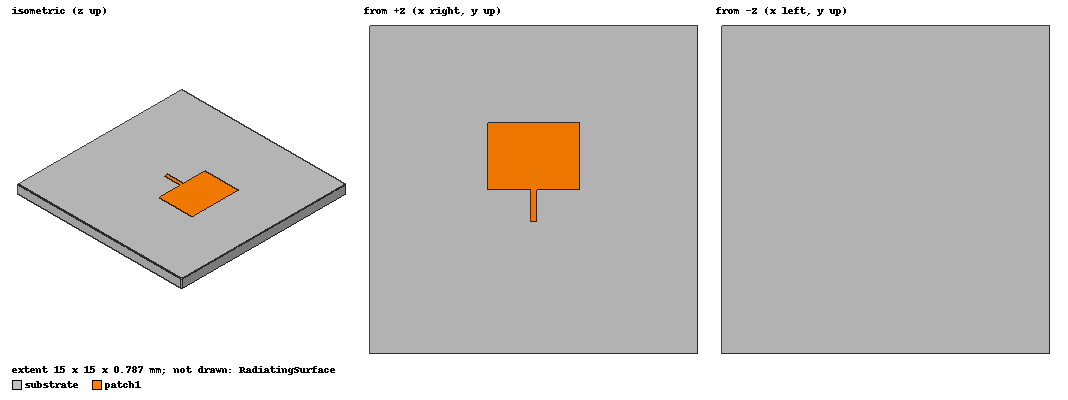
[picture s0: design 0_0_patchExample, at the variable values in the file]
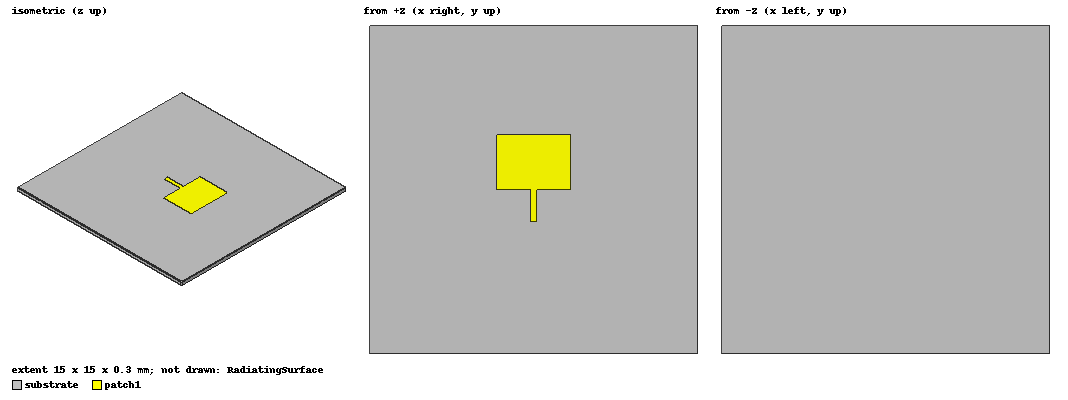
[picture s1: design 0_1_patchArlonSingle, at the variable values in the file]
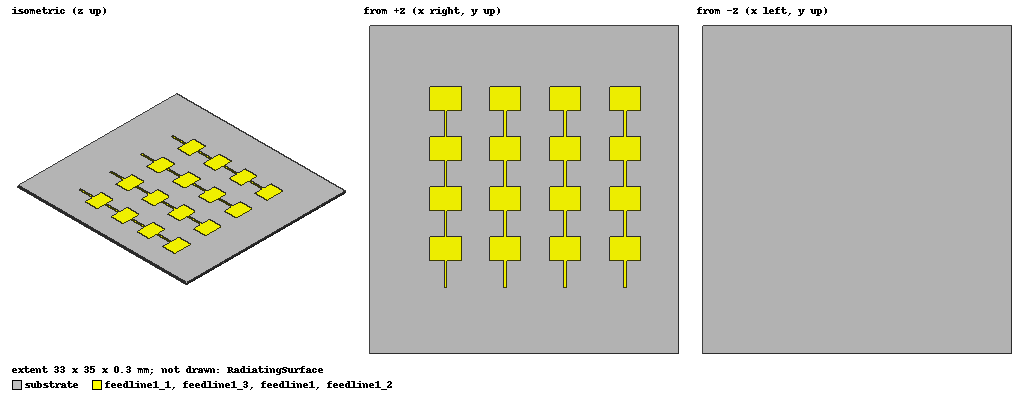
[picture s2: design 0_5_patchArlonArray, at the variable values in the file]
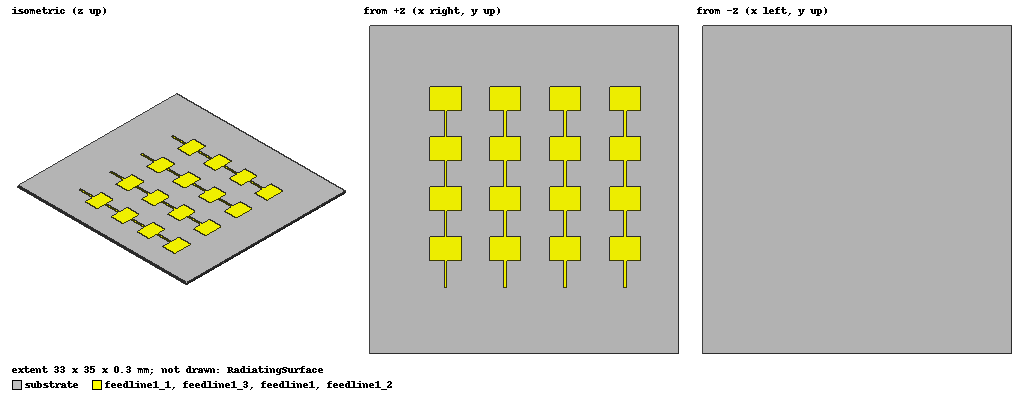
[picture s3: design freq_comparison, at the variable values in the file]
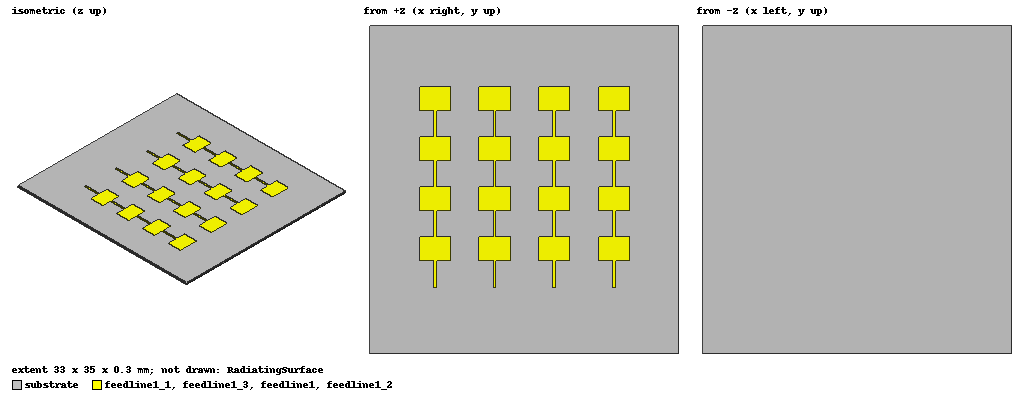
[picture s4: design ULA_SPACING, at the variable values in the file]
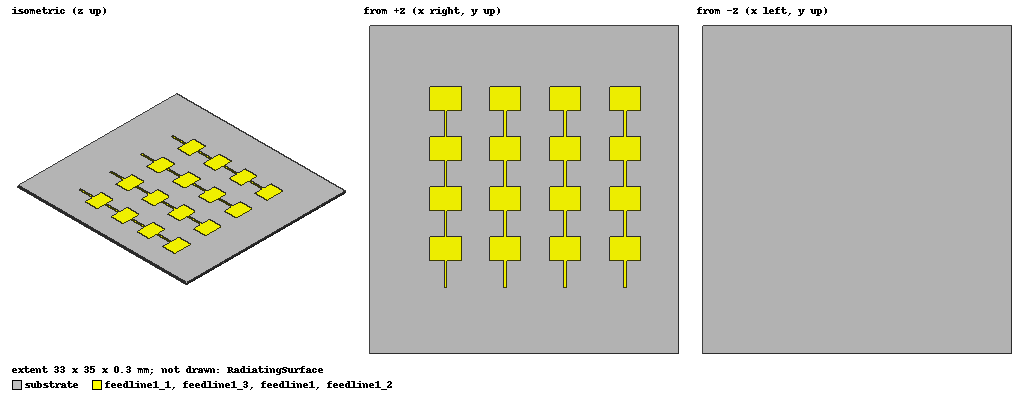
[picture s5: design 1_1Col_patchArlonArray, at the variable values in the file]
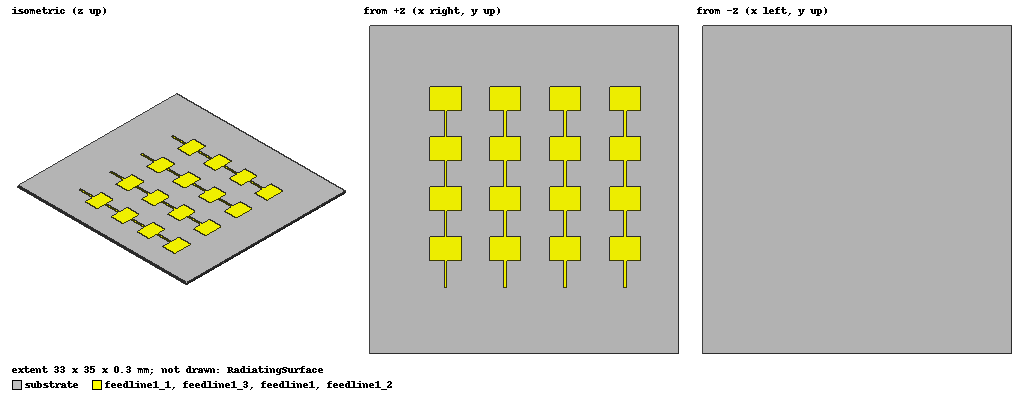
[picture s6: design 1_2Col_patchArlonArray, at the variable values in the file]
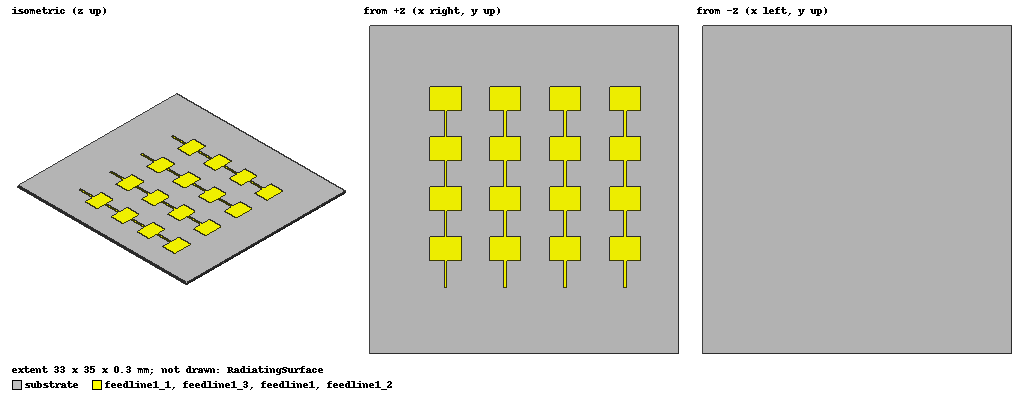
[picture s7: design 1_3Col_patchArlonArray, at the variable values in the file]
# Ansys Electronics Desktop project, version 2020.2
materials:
  vacuum: permittivity=1
  Arlon AD410 (tm): permittivity=4.1 dielectric_loss_tangent=0.003
  air: permittivity=1.0006 permeability=1.0000004
  PMLGroup1_Z_1: permittivity{anisotropic component1=1.1338425 component2=1.1338425 component3=0.44097836} permeability{anisotropic component1=1.1338425 component2=1.1338425 component3=0.44097836} dielectric_loss_tangent{anisotropic component1=1 component2=1 component3=-1} magnetic_loss_tangent{anisotropic component1=1 component2=1 component3=-1}
  PMLGroup1_XZ_1: permittivity{anisotropic component1=1 component2=0.01 component3=1} permeability{anisotropic component1=1 component2=0.01 component3=1} dielectric_loss_tangent{anisotropic component1=0 component2=257.11976 component3=0} magnetic_loss_tangent{anisotropic component1=0 component2=257.11976 component3=0}
  PMLGroup1_YZ_1: permittivity{anisotropic component1=0.01 component2=1 component3=1} permeability{anisotropic component1=0.01 component2=1 component3=1} dielectric_loss_tangent{anisotropic component1=257.11976 component2=0 component3=0} magnetic_loss_tangent{anisotropic component1=257.11976 component2=0 component3=0}
  PMLGroup1_XYZ_1: permittivity{anisotropic component1=1.1338425 component2=1.1338425 component3=1.1338425} permeability{anisotropic component1=1.1338425 component2=1.1338425 component3=1.1338425} dielectric_loss_tangent{anisotropic component1=1 component2=1 component3=1} magnetic_loss_tangent{anisotropic component1=1 component2=1 component3=1}
  Rogers RT/duroid 5880 (tm): permittivity=2.2 dielectric_loss_tangent=0.0009

design 0_0_patchExample (HFSS, DrivenModal, model units mm)
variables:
  subX = 15mm
  subY = 15mm
  subZ = 0.787mm
  patchW = 4.232mm
  patchL = 3.06mm
  arraySpaceL = 2.65mm
  qwtWidth = 0.3mm
  fiftyOhmW = 0.85mm
  feedLength = 1.4685mm
  feedWidth = 0.3mm
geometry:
  substrate [Rogers RT/duroid 5880 (tm)] = box(corner=(-subX/2, -subY/2, -subZ), size=(subX, subY, subZ))
  patch1 = rectangle(corner=(-patchW/2, 0mm, 0mm), x_size=patchW, y_size=patchL)
  QWTtrace = rectangle(corner=(-feedWidth/2, -feedLength, 0mm), x_size=feedWidth, y_size=feedLength)
  Rectangle1 = rectangle(corner=(-feedWidth/2, -feedLength, -subZ), z_size=subZ, x_size=feedWidth)
  RadiatingSurface [vacuum] = region(absolute_offset=3.5714286mm on all sides)
  coordinate_system RelativeCS1 = origin=(-0.15mm, 9.675mm, 0mm) x=(1mm, 0mm, 0mm) y=(0mm, 1mm, 0mm)
  patch1.unite(QWTtrace)
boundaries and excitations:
  Open1: Radiation Objects=RadiatingSurface
  copper: Finite Conductivity Objects=patch1 Conductivity=59600000 Permeability=1 IsInternal
  ground: Perfect E Faces=substrate.face(-z)
  port1: Lumped Port Objects=Rectangle1 Modes{Mode1{IntLine{middle of Rectangle1.edge(z opposite corner) -> middle of Rectangle1.edge(z at corner)} CharImp=Zpi RenormImp=50ohm}} Impedance=50ohm
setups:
  Setup1: HfssDriven Frequency=28GHz MaxDeltaS=0.02 MaximumPasses=6 MinimumPasses=1 MinimumConvergedPasses=1 PercentRefinement=30 BasisOrder=0 PortAccuracy=2
    sweep Sweep: 26GHz to 30GHz, 401 points; Type=Interpolating InterpTolerance=0.2 InterpMaxSolns=250 InterpUsePortImped=false PassivityErrorTolerance=0.0001
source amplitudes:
  port1:1: 1W 0deg
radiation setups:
  3D: Infinite Sphere Theta=0deg..180deg step 2deg Phi=-180deg..180deg step 2deg
  Elevation: Infinite Sphere Theta=-180deg..180deg step 1deg Phi=0deg..90deg step 90deg
  Azimuth: Infinite Sphere Theta=90deg..90deg step 0deg Phi=-180deg..180deg step 1deg
  ff_2d: Infinite Sphere Theta=-180deg..180deg step 2deg Phi=0deg..90deg step 90deg
  Infinite Sphere1: Infinite Sphere Theta=0deg..180deg step 2deg Phi=0deg..360deg step 2deg
  coord: Infinite Sphere Theta=0deg..180deg step 2deg Phi=0deg..360deg step 2deg CoordSystem=RelativeCS1
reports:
  Gain Plot 1: dB(GainTotal) vs Phi, Theta on Setup1 : LastAdaptive, 3D [Freq=28GHz]
  Gain Plot 2: dB(GainTotal) vs Phi, Theta on Setup1 : LastAdaptive, coord [Freq=28GHz]
  Gain Plot 3: dB(GainTotal) vs Theta on Setup1 : LastAdaptive, ff_2d [Phi=all Freq=28GHz]
  Directivity Plot 1: dB(DirTotal) vs Theta on Setup1 : LastAdaptive, ff_2d [Phi=all Freq=28GHz]; markers m1 at 0deg

design 0_1_patchArlonSingle (HFSS, DrivenModal, model units mm)
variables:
  subX = 15mm
  subY = 15mm
  subZ = 0.3mm
  patchW = 3.349mm
  patchL = 2.533mm
  arraySpaceL = 2.65mm
  qwtWidth = 0.3mm
  fiftyOhmW = 0.85mm
  feedLength = 1.4685mm
  feedWidth = 0.3mm
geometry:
  substrate [Arlon AD410 (tm)] = box(corner=(-subX/2, -subY/2, -subZ), size=(subX, subY, subZ))
  patch1 = rectangle(corner=(-patchW/2, 0mm, 0mm), x_size=patchW, y_size=patchL)
  QWTtrace = rectangle(corner=(-feedWidth/2, -feedLength, 0mm), x_size=feedWidth, y_size=feedLength)
  Rectangle1 = rectangle(corner=(-feedWidth/2, -feedLength, -subZ), z_size=subZ, x_size=feedWidth)
  RadiatingSurface [vacuum] = region(absolute_offset=3.5714286mm on all sides)
  coordinate_system RelativeCS1 = origin=(-0.15mm, 9.675mm, 0mm) x=(1mm, 0mm, 0mm) y=(0mm, 1mm, 0mm)
  patch1.unite(QWTtrace)
  coordinate_system RelativeCS2 = origin=(0.15mm, -8.5072756mm, 0mm) x=(1mm, 0mm, 0mm) y=(0mm, 1mm, 0mm) in RelativeCS1
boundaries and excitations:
  Open1: Radiation Objects=RadiatingSurface
  gold: Finite Conductivity Objects=patch1 Conductivity=41100000 Permeability=1 IsInternal
  ground: Perfect E Faces=substrate.face(-z)
  port1: Lumped Port Objects=Rectangle1 Modes{Mode1{IntLine{middle of Rectangle1.edge(z opposite corner) -> middle of Rectangle1.edge(z at corner)} CharImp=Zpi RenormImp=50ohm}} Impedance=50ohm
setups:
  Setup1: HfssDriven Frequency=28GHz MaxDeltaS=0.02 MaximumPasses=6 MinimumPasses=1 MinimumConvergedPasses=1 PercentRefinement=30 BasisOrder=0 PortAccuracy=2
    sweep Sweep: 26GHz to 30GHz, 401 points; Type=Interpolating InterpTolerance=0.2 InterpMaxSolns=250 InterpUsePortImped=false PassivityErrorTolerance=0.0001
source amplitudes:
  port1:1: 1W 0deg
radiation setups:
  3D: Infinite Sphere Theta=0deg..180deg step 2deg Phi=-180deg..180deg step 2deg
  Elevation: Infinite Sphere Theta=-180deg..180deg step 1deg Phi=0deg..90deg step 90deg
  Azimuth: Infinite Sphere Theta=90deg..90deg step 0deg Phi=-180deg..180deg step 1deg
  ff_2d: Infinite Sphere Theta=-180deg..180deg step 2deg Phi=0deg..90deg step 90deg CoordSystem=RelativeCS2
  Infinite Sphere1: Infinite Sphere Theta=0deg..180deg step 2deg Phi=0deg..360deg step 2deg CoordSystem=RelativeCS2
  coord: Infinite Sphere Theta=0deg..180deg step 2deg Phi=0deg..360deg step 2deg CoordSystem=RelativeCS1
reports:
  Gain Plot 1: dB(GainTotal) vs Phi, Theta on Setup1 : LastAdaptive, 3D [Freq=28GHz]
  Gain Plot 2: dB(GainTotal) vs Phi, Theta on Setup1 : LastAdaptive, coord [Freq=28GHz]
  Gain Plot 3: dB(GainTotal) vs Theta on Setup1 : LastAdaptive, ff_2d [Phi=all Freq=28GHz]; markers m1 at 0deg
  Directivity Plot 1: dB(DirTotal) vs Theta on Setup1 : LastAdaptive, ff_2d [Phi=all Freq=28GHz]; markers m1 at 0deg

design 0_5_patchArlonArray (HFSS, DrivenModal, model units mm)
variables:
  subX = (15*2.2) mm
  subY = 35mm
  subZ = 0.3mm
  patchW = 3.349mm
  patchL = 2.533mm
  arraySpaceL = 2.65mm
  qwtWidth = 0.3mm
  fiftyOhmW = 0.85mm
  feedLength = 2.8205mm
  feedWidth = 0.3mm
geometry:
  substrate [Arlon AD410 (tm)] = box(corner=(-subX/2+2.5*patchW, -subY/2+3*patchL, -subZ), size=(subX, subY, subZ))
  patch1 = rectangle(corner=(-patchW/2, 0mm, 0mm), x_size=patchW, y_size=patchL)
  feedline1 = rectangle(corner=(-feedWidth/2, -feedLength, 0mm), x_size=feedWidth, y_size=feedLength)
  Rectangle1 = rectangle(corner=(-feedWidth/2, -feedLength, -subZ), z_size=subZ, x_size=feedWidth)
  RadiatingSurface [vacuum] = region(absolute_offset=3.5714286mm on all sides)
  coordinate_system RelativeCS1 = origin=(-0.15mm, 9.675mm, 0mm) x=(1mm, 0mm, 0mm) y=(0mm, 1mm, 0mm)
  coordinate_system RelativeCS2 = origin=(0.15mm, -8.5072756mm, 0mm) x=(1mm, 0mm, 0mm) y=(0mm, 1mm, 0mm) in RelativeCS1
  feedline2 = rectangle(corner=(-feedWidth/2, -feedLength+1*(feedLength+patchL), 0mm), x_size=feedWidth, y_size=feedLength)
  patch2 = rectangle(corner=(-patchW/2, 1*(patchL+feedLength), 0mm), x_size=patchW, y_size=patchL)
  feedline3 = rectangle(corner=(-feedWidth/2, -feedLength+2*(feedLength+patchL), 0mm), x_size=feedWidth, y_size=feedLength)
  patch3 = rectangle(corner=(-patchW/2, 2*(patchL+feedLength), 0mm), x_size=patchW, y_size=patchL)
  feedline4 = rectangle(corner=(-feedWidth/2, -feedLength+3*(feedLength+patchL), 0mm), x_size=feedWidth, y_size=feedLength)
  patch4 = rectangle(corner=(-patchW/2, 3*(patchL+feedLength), 0mm), x_size=patchW, y_size=patchL)
  feedline1.unite(patch1, feedline2, patch2, feedline3, patch3, feedline4, patch4)
  feedline1_1, feedline1_2, feedline1_3 = feedline1.duplicate_along_line(step=(6.375mm, 0mm, 0mm), total=4) in RelativeCS2
  Rectangle1_1, Rectangle1_2, Rectangle1_3 = Rectangle1.duplicate_along_line(step=(6.375mm, 0mm, 0mm), total=4) in RelativeCS2
  coordinate_system RelativeCS3 = origin=(9.5mm, 8mm, 0mm) x=(1mm, 0mm, 0mm) y=(0mm, 1mm, 0mm) in RelativeCS2
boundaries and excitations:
  Open1: Radiation Objects=RadiatingSurface
  gold: Finite Conductivity Objects=[feedline1_1, feedline1_2, feedline1_3, feedline1] Conductivity=41100000 Permeability=1 IsInternal
  ground: Perfect E Faces=substrate.face(-z)
  port1: Lumped Port Objects=Rectangle1 Modes{Mode1{IntLine{middle of Rectangle1.edge(z opposite corner) -> middle of Rectangle1.edge(z at corner)} CharImp=Zpi RenormImp=50ohm}} Impedance=50ohm
  p2: Lumped Port Objects=Rectangle1_1 Modes{Mode1{IntLine{middle of Rectangle1_1.edge(2 of 4) -> middle of Rectangle1_1.edge(4 of 4)} CharImp=Zpi RenormImp=50ohm}} Impedance=50ohm
  p3: Lumped Port Objects=Rectangle1_2 Modes{Mode1{IntLine{middle of Rectangle1_2.edge(2 of 4) -> middle of Rectangle1_2.edge(4 of 4)} CharImp=Zpi RenormImp=50ohm}} Impedance=50ohm
  p4: Lumped Port Objects=Rectangle1_3 Modes{Mode1{IntLine{middle of Rectangle1_3.edge(2 of 4) -> middle of Rectangle1_3.edge(4 of 4)} CharImp=Zpi RenormImp=50ohm}} Impedance=50ohm
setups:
  Setup1: HfssDriven Frequency=28GHz MaxDeltaS=0.02 MaximumPasses=6 MinimumPasses=1 MinimumConvergedPasses=1 PercentRefinement=30 BasisOrder=0 PortAccuracy=2
    sweep Sweep: 26GHz to 30GHz, 401 points; Type=Interpolating InterpTolerance=0.2 InterpMaxSolns=250 InterpUsePortImped=false PassivityErrorTolerance=0.0001
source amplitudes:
  port1:1, p2:1, p3:1, p4:1: 1W 0deg
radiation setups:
  3D: Infinite Sphere Theta=0deg..180deg step 2deg Phi=-180deg..180deg step 2deg
  Elevation: Infinite Sphere Theta=-180deg..180deg step 1deg Phi=0deg..90deg step 90deg
  Azimuth: Infinite Sphere Theta=90deg..90deg step 0deg Phi=-180deg..180deg step 1deg
  ff_2d: Infinite Sphere Theta=-180deg..180deg step 2deg Phi=0deg..90deg step 90deg CoordSystem=RelativeCS3
  Infinite Sphere1: Infinite Sphere Theta=0deg..180deg step 2deg Phi=0deg..360deg step 2deg CoordSystem=RelativeCS3
  coord: Infinite Sphere Theta=0deg..180deg step 2deg Phi=0deg..360deg step 2deg CoordSystem=RelativeCS3
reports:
  Gain Plot 1: dB(GainTotal) vs Phi, Theta on Setup1 : LastAdaptive, 3D [Freq=28GHz]
  Phased Array 3D Radiation Pattern: dB(GainTotal) vs Phi, Theta on Setup1 : LastAdaptive, coord [Freq=28GHz]
  Gain Plot 3: dB(GainTotal) vs Theta on Setup1 : LastAdaptive, ff_2d [Phi=all Freq=28GHz]; markers m1 at 0deg
  Phased Array - Directivity Plot (dBi): dB(DirTotal) vs Theta on Setup1 : LastAdaptive, ff_2d [Phi=all Freq=28GHz]; markers m1 at 0deg, m2 at 10deg
  Phased Array - Directivity Plot (dBi) - Theta Vertical: dB(DirTotal) vs Theta on Setup1 : LastAdaptive, ff_2d [Phi=all Freq=28GHz]; markers m1 at 0deg, m2 at 10deg
  Phased Array - Directivity Plot (dBi) - Phi Horizontal: dB(DirTotal) vs Theta on Setup1 : LastAdaptive, ff_2d [Phi=all Freq=28GHz]; markers m1 at 0deg, m2 at 0deg, m3 at 10deg

design freq_comparison (HFSS, DrivenModal, model units mm)
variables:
  subX = (15*2.2) mm
  subY = 35mm
  subZ = 0.3mm
  patchW = 3.349mm
  patchL = 2.533mm
  arraySpaceL = 2.65mm
  qwtWidth = 0.3mm
  fiftyOhmW = 0.85mm
  feedLength = 2.8205mm
  feedWidth = 0.3mm
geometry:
  substrate [Arlon AD410 (tm)] = box(corner=(-subX/2+2.5*patchW, -subY/2+3*patchL, -subZ), size=(subX, subY, subZ))
  patch1 = rectangle(corner=(-patchW/2, 0mm, 0mm), x_size=patchW, y_size=patchL)
  feedline1 = rectangle(corner=(-feedWidth/2, -feedLength, 0mm), x_size=feedWidth, y_size=feedLength)
  Rectangle1 = rectangle(corner=(-feedWidth/2, -feedLength, -subZ), z_size=subZ, x_size=feedWidth)
  RadiatingSurface [vacuum] = region(absolute_offset=3.5714286mm on all sides)
  coordinate_system RelativeCS1 = origin=(-0.15mm, 9.675mm, 0mm) x=(1mm, 0mm, 0mm) y=(0mm, 1mm, 0mm)
  coordinate_system RelativeCS2 = origin=(0.15mm, -8.5072756mm, 0mm) x=(1mm, 0mm, 0mm) y=(0mm, 1mm, 0mm) in RelativeCS1
  feedline2 = rectangle(corner=(-feedWidth/2, -feedLength+1*(feedLength+patchL), 0mm), x_size=feedWidth, y_size=feedLength)
  patch2 = rectangle(corner=(-patchW/2, 1*(patchL+feedLength), 0mm), x_size=patchW, y_size=patchL)
  feedline3 = rectangle(corner=(-feedWidth/2, -feedLength+2*(feedLength+patchL), 0mm), x_size=feedWidth, y_size=feedLength)
  patch3 = rectangle(corner=(-patchW/2, 2*(patchL+feedLength), 0mm), x_size=patchW, y_size=patchL)
  feedline4 = rectangle(corner=(-feedWidth/2, -feedLength+3*(feedLength+patchL), 0mm), x_size=feedWidth, y_size=feedLength)
  patch4 = rectangle(corner=(-patchW/2, 3*(patchL+feedLength), 0mm), x_size=patchW, y_size=patchL)
  feedline1.unite(patch1, feedline2, patch2, feedline3, patch3, feedline4, patch4)
  feedline1_1, feedline1_2, feedline1_3 = feedline1.duplicate_along_line(step=(6.375mm, 0mm, 0mm), total=4) in RelativeCS2
  Rectangle1_1, Rectangle1_2, Rectangle1_3 = Rectangle1.duplicate_along_line(step=(6.375mm, 0mm, 0mm), total=4) in RelativeCS2
  coordinate_system RelativeCS3 = origin=(9.5mm, 8mm, 0mm) x=(1mm, 0mm, 0mm) y=(0mm, 1mm, 0mm) in RelativeCS2
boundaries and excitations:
  Open1: Radiation Objects=RadiatingSurface
  gold: Finite Conductivity Objects=[feedline1_1, feedline1_2, feedline1_3, feedline1] Conductivity=41100000 Permeability=1 IsInternal
  ground: Perfect E Faces=substrate.face(-z)
  port1: Lumped Port Objects=Rectangle1 Modes{Mode1{IntLine{middle of Rectangle1.edge(z opposite corner) -> middle of Rectangle1.edge(z at corner)} CharImp=Zpi RenormImp=50ohm}} Impedance=50ohm
  p2: Lumped Port Objects=Rectangle1_1 Modes{Mode1{IntLine{middle of Rectangle1_1.edge(2 of 4) -> middle of Rectangle1_1.edge(4 of 4)} CharImp=Zpi RenormImp=50ohm}} Impedance=50ohm
  p3: Lumped Port Objects=Rectangle1_2 Modes{Mode1{IntLine{middle of Rectangle1_2.edge(2 of 4) -> middle of Rectangle1_2.edge(4 of 4)} CharImp=Zpi RenormImp=50ohm}} Impedance=50ohm
  p4: Lumped Port Objects=Rectangle1_3 Modes{Mode1{IntLine{middle of Rectangle1_3.edge(2 of 4) -> middle of Rectangle1_3.edge(4 of 4)} CharImp=Zpi RenormImp=50ohm}} Impedance=50ohm
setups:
  Setup1: HfssDriven MultipleAdaptiveFreqsSetup{AdaptAt{Frequency=26GHz Delta=0.02} AdaptAt{Frequency=28GHz Delta=0.02} AdaptAt{Frequency=30GHz Delta=0.02}} MaximumPasses=6 MinimumPasses=1 MinimumConvergedPasses=1 PercentRefinement=30 BasisOrder=0 PortAccuracy=2
    sweep Sweep: 26GHz to 30GHz, 401 points; Type=Interpolating InterpTolerance=0.2 InterpMaxSolns=250 InterpUsePortImped=false PassivityErrorTolerance=0.0001
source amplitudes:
  port1:1, p2:1, p3:1, p4:1: 1W 0deg
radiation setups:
  3D: Infinite Sphere Theta=0deg..180deg step 2deg Phi=-180deg..180deg step 2deg
  Elevation: Infinite Sphere Theta=-180deg..180deg step 1deg Phi=0deg..90deg step 90deg
  Azimuth: Infinite Sphere Theta=90deg..90deg step 0deg Phi=-180deg..180deg step 1deg
  ff_2d: Infinite Sphere Theta=-180deg..180deg step 2deg Phi=0deg..90deg step 90deg CoordSystem=RelativeCS3
  Infinite Sphere1: Infinite Sphere Theta=0deg..180deg step 2deg Phi=0deg..360deg step 2deg CoordSystem=RelativeCS3
  coord: Infinite Sphere Theta=0deg..180deg step 2deg Phi=0deg..360deg step 2deg CoordSystem=RelativeCS3
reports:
  Gain Plot 1: dB(GainTotal) vs Phi, Theta on Setup1 : LastAdaptive, 3D [Freq=28GHz]; dB(GainTotal) vs Phi, Theta
  Phased Array 3D Radiation Pattern: dB(GainTotal) vs Phi, Theta on Setup1 : LastAdaptive, coord [Freq=28GHz]; dB(GainTotal) vs Phi, Theta
  Gain Plot 3: dB(GainTotal) vs Theta on Setup1 : LastAdaptive, ff_2d [Phi=all Freq=28GHz]; dB(GainTotal) vs Theta; markers m1 at 0deg
  Phased Array - Directivity Plot (dBi): dB(DirTotal) vs Theta on Setup1 : LastAdaptive, ff_2d [Phi=all Freq=28GHz]; dB(DirTotal) vs Theta; markers m1 at 0deg, m2 at 10deg
  Phased Array - Directivity Plot (dBi) - Theta Vertical: dB(DirTotal) vs Theta on Setup1 : LastAdaptive, ff_2d [Phi=all Freq=all]; dB(DirTotal) vs Theta; markers m1 at 0deg, m2 at 0deg, m3 at 0deg, m4 at 0deg
  Phased Array - Directivity Plot (dBi) - Phi Horizontal: dB(DirTotal) vs Theta on Setup1 : LastAdaptive, ff_2d [Phi=all Freq=all]; dB(DirTotal) vs Theta; markers m1 at 0deg, m2 at 0deg, m3 at 0deg, m4 at 0deg

design ULA_SPACING (HFSS, DrivenModal, model units mm)
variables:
  subX = (15*2.2) mm
  subY = 35mm
  subZ = 0.3mm
  patchW = 3.349mm
  patchL = 2.533mm
  arraySpaceL = 2.65mm
  qwtWidth = 0.3mm
  fiftyOhmW = 0.85mm
  feedLength = 2.8205mm
  feedWidth = 0.3mm
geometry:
  substrate [Arlon AD410 (tm)] = box(corner=(-subX/2+2.5*patchW+1.15mm, -subY/2+3*patchL, -subZ), size=(subX, subY, subZ))
  patch1 = rectangle(corner=(-patchW/2, 0mm, 0mm), x_size=patchW, y_size=patchL)
  feedline1 = rectangle(corner=(-feedWidth/2, -feedLength, 0mm), x_size=feedWidth, y_size=feedLength)
  Rectangle1 = rectangle(corner=(-feedWidth/2, -feedLength, -subZ), z_size=subZ, x_size=feedWidth)
  RadiatingSurface [vacuum] = region(absolute_offset=3.5714286mm on all sides)
  coordinate_system RelativeCS1 = origin=(-0.15mm, 9.675mm, 0mm) x=(1mm, 0mm, 0mm) y=(0mm, 1mm, 0mm)
  coordinate_system RelativeCS2 = origin=(0.15mm, -8.5072756mm, 0mm) x=(1mm, 0mm, 0mm) y=(0mm, 1mm, 0mm) in RelativeCS1
  feedline2 = rectangle(corner=(-feedWidth/2, -feedLength+1*(feedLength+patchL), 0mm), x_size=feedWidth, y_size=feedLength)
  patch2 = rectangle(corner=(-patchW/2, 1*(patchL+feedLength), 0mm), x_size=patchW, y_size=patchL)
  feedline3 = rectangle(corner=(-feedWidth/2, -feedLength+2*(feedLength+patchL), 0mm), x_size=feedWidth, y_size=feedLength)
  patch3 = rectangle(corner=(-patchW/2, 2*(patchL+feedLength), 0mm), x_size=patchW, y_size=patchL)
  feedline4 = rectangle(corner=(-feedWidth/2, -feedLength+3*(feedLength+patchL), 0mm), x_size=feedWidth, y_size=feedLength)
  patch4 = rectangle(corner=(-patchW/2, 3*(patchL+feedLength), 0mm), x_size=patchW, y_size=patchL)
  feedline1.unite(patch1, feedline2, patch2, feedline3, patch3, feedline4, patch4)
  feedline1_1, feedline1_2, feedline1_3 = feedline1.duplicate_along_line(step=(6.375mm, 0mm, 0mm), total=4) in RelativeCS2
  Rectangle1_1, Rectangle1_2, Rectangle1_3 = Rectangle1.duplicate_along_line(step=(6.375mm, 0mm, 0mm), total=4) in RelativeCS2
  coordinate_system RelativeCS3 = origin=(9.5mm, 8mm, 0mm) x=(1mm, 0mm, 0mm) y=(0mm, 1mm, 0mm) in RelativeCS2
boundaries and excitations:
  Open1: Radiation Objects=RadiatingSurface
  gold: Finite Conductivity Objects=[feedline1_1, feedline1_2, feedline1_3, feedline1] Conductivity=41100000 Permeability=1 IsInternal
  ground: Perfect E Faces=substrate.face(-z)
  port1: Lumped Port Objects=Rectangle1 Modes{Mode1{IntLine{middle of Rectangle1.edge(z opposite corner) -> middle of Rectangle1.edge(z at corner)} CharImp=Zpi RenormImp=50ohm}} Impedance=50ohm
  p2: Lumped Port Objects=Rectangle1_1 Modes{Mode1{IntLine{middle of Rectangle1_1.edge(2 of 4) -> middle of Rectangle1_1.edge(4 of 4)} CharImp=Zpi RenormImp=50ohm}} Impedance=50ohm
  p3: Lumped Port Objects=Rectangle1_2 Modes{Mode1{IntLine{middle of Rectangle1_2.edge(2 of 4) -> middle of Rectangle1_2.edge(4 of 4)} CharImp=Zpi RenormImp=50ohm}} Impedance=50ohm
  p4: Lumped Port Objects=Rectangle1_3 Modes{Mode1{IntLine{middle of Rectangle1_3.edge(2 of 4) -> middle of Rectangle1_3.edge(4 of 4)} CharImp=Zpi RenormImp=50ohm}} Impedance=50ohm
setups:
  Setup1: HfssDriven Frequency=28GHz MaxDeltaS=0.02 MaximumPasses=6 MinimumPasses=1 MinimumConvergedPasses=1 PercentRefinement=30 BasisOrder=0 PortAccuracy=2
    sweep Sweep: 14GHz to 28GHz step 2GHz; Type=Interpolating InterpTolerance=0.2 InterpMaxSolns=250 InterpUsePortImped=false PassivityErrorTolerance=0.0001
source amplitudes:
  port1:1, p2:1, p3:1, p4:1: 1W 0deg
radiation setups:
  3D: Infinite Sphere Theta=0deg..180deg step 2deg Phi=-180deg..180deg step 2deg
  Elevation: Infinite Sphere Theta=-180deg..180deg step 1deg Phi=0deg..90deg step 90deg
  Azimuth: Infinite Sphere Theta=90deg..90deg step 0deg Phi=-180deg..180deg step 1deg
  ff_2d: Infinite Sphere Theta=-180deg..180deg step 2deg Phi=0deg..90deg step 90deg CoordSystem=RelativeCS3
  Infinite Sphere1: Infinite Sphere Theta=0deg..180deg step 2deg Phi=0deg..360deg step 2deg CoordSystem=RelativeCS3
  coord: Infinite Sphere Theta=0deg..180deg step 2deg Phi=0deg..360deg step 2deg CoordSystem=RelativeCS3
  pan_setup: Infinite Sphere Theta=-180deg..180deg step 5deg Phi=0deg..360deg step 5deg
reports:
  Gain Plot 1: dB(GainTotal) vs Phi, Theta on Setup1 : LastAdaptive, 3D [Freq=28GHz]
  Phased Array 3D Radiation Pattern: dB(GainTotal) vs Phi, Theta on Setup1 : LastAdaptive, coord [Freq=28GHz]
  Gain Plot 3: dB(GainTotal) vs Theta on Setup1 : LastAdaptive, ff_2d [Phi=all Freq=28GHz]; markers m1 at 0deg
  Phased Array - Directivity Plot (dBi): dB(DirTotal) vs Theta on Setup1 : LastAdaptive, ff_2d [Phi=all Freq=28GHz]; markers m1 at 0deg, m2 at 10deg
  Phased Array - Directivity Plot (dBi) - Theta Vertical: dB(DirTotal) vs Theta on Setup1 : LastAdaptive, ff_2d [Phi=all Freq=28GHz]; markers m1 at 0deg, m2 at 10deg
  Phased Array - Directivity Plot (dBi) - Phi Horizontal: dB(DirTotal) vs Theta on Setup1 : LastAdaptive, ff_2d [Phi=all Freq=28GHz]; markers m1 at 0deg, m2 at 0deg, m3 at 10deg
  rE Table 2: rEPhi, rETheta vs Theta on Setup1 : LastAdaptive, pan_setup [Phi=all Freq=28GHz]
  rE Table 3: re(rEPhi), im(rEPhi), rEPhi, re(rETheta), im(rETheta), rETheta vs Theta on Setup1 : LastAdaptive, pan_setup [Phi=all Freq=28GHz]

design 1_1Col_patchArlonArray (HFSS, DrivenModal, model units mm)
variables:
  subX = (15*2.2) mm
  subY = 35mm
  subZ = 0.3mm
  patchW = 3.349mm
  patchL = 2.533mm
  arraySpaceL = 2.65mm
  qwtWidth = 0.3mm
  fiftyOhmW = 0.85mm
  feedLength = 2.8205mm
  feedWidth = 0.3mm
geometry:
  substrate [Arlon AD410 (tm)] = box(corner=(-subX/2+2.5*patchW, -subY/2+3*patchL, -subZ), size=(subX, subY, subZ))
  patch1 = rectangle(corner=(-patchW/2, 0mm, 0mm), x_size=patchW, y_size=patchL)
  feedline1 = rectangle(corner=(-feedWidth/2, -feedLength, 0mm), x_size=feedWidth, y_size=feedLength)
  Rectangle1 = rectangle(corner=(-feedWidth/2, -feedLength, -subZ), z_size=subZ, x_size=feedWidth)
  RadiatingSurface [vacuum] = region(absolute_offset=3.5714286mm on all sides)
  coordinate_system RelativeCS1 = origin=(-0.15mm, 9.675mm, 0mm) x=(1mm, 0mm, 0mm) y=(0mm, 1mm, 0mm)
  coordinate_system RelativeCS2 = origin=(0.15mm, -8.5072756mm, 0mm) x=(1mm, 0mm, 0mm) y=(0mm, 1mm, 0mm) in RelativeCS1
  feedline2 = rectangle(corner=(-feedWidth/2, -feedLength+1*(feedLength+patchL), 0mm), x_size=feedWidth, y_size=feedLength)
  patch2 = rectangle(corner=(-patchW/2, 1*(patchL+feedLength), 0mm), x_size=patchW, y_size=patchL)
  feedline3 = rectangle(corner=(-feedWidth/2, -feedLength+2*(feedLength+patchL), 0mm), x_size=feedWidth, y_size=feedLength)
  patch3 = rectangle(corner=(-patchW/2, 2*(patchL+feedLength), 0mm), x_size=patchW, y_size=patchL)
  feedline4 = rectangle(corner=(-feedWidth/2, -feedLength+3*(feedLength+patchL), 0mm), x_size=feedWidth, y_size=feedLength)
  patch4 = rectangle(corner=(-patchW/2, 3*(patchL+feedLength), 0mm), x_size=patchW, y_size=patchL)
  feedline1.unite(patch1, feedline2, patch2, feedline3, patch3, feedline4, patch4)
  feedline1_1, feedline1_2, feedline1_3 = feedline1.duplicate_along_line(step=(6.375mm, 0mm, 0mm), total=4) in RelativeCS2
  Rectangle1_1, Rectangle1_2, Rectangle1_3 = Rectangle1.duplicate_along_line(step=(6.375mm, 0mm, 0mm), total=4) in RelativeCS2
  coordinate_system RelativeCS3 = origin=(9.5mm, 8mm, 0mm) x=(1mm, 0mm, 0mm) y=(0mm, 1mm, 0mm) in RelativeCS2
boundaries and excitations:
  Open1: Radiation Objects=RadiatingSurface
  gold: Finite Conductivity Objects=[feedline1_1, feedline1_2, feedline1_3, feedline1] Conductivity=41100000 Permeability=1 IsInternal
  ground: Perfect E Faces=substrate.face(-z)
  port1: Lumped Port Objects=Rectangle1 Modes{Mode1{IntLine{middle of Rectangle1.edge(z opposite corner) -> middle of Rectangle1.edge(z at corner)} CharImp=Zpi RenormImp=50ohm}} Impedance=50ohm
  p2: Lumped Port Objects=Rectangle1_1 Modes{Mode1{IntLine{middle of Rectangle1_1.edge(2 of 4) -> middle of Rectangle1_1.edge(4 of 4)} CharImp=Zpi RenormImp=50ohm}} Impedance=50ohm
  p3: Lumped Port Objects=Rectangle1_2 Modes{Mode1{IntLine{middle of Rectangle1_2.edge(2 of 4) -> middle of Rectangle1_2.edge(4 of 4)} CharImp=Zpi RenormImp=50ohm}} Impedance=50ohm
  p4: Lumped Port Objects=Rectangle1_3 Modes{Mode1{IntLine{middle of Rectangle1_3.edge(2 of 4) -> middle of Rectangle1_3.edge(4 of 4)} CharImp=Zpi RenormImp=50ohm}} Impedance=50ohm
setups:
  Setup1: HfssDriven Frequency=28GHz MaxDeltaS=0.02 MaximumPasses=6 MinimumPasses=1 MinimumConvergedPasses=1 PercentRefinement=30 BasisOrder=0 PortAccuracy=2
    sweep Sweep: 26GHz to 30GHz, 401 points; Type=Interpolating InterpTolerance=0.2 InterpMaxSolns=250 InterpUsePortImped=false PassivityErrorTolerance=0.0001
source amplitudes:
  port1:1: 1W 0deg
  p2:1, p3:1, p4:1: 0W 0deg
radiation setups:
  3D: Infinite Sphere Theta=0deg..180deg step 2deg Phi=-180deg..180deg step 2deg
  Elevation: Infinite Sphere Theta=-180deg..180deg step 1deg Phi=0deg..90deg step 90deg
  Azimuth: Infinite Sphere Theta=90deg..90deg step 0deg Phi=-180deg..180deg step 1deg
  ff_2d: Infinite Sphere Theta=-180deg..180deg step 2deg Phi=0deg..90deg step 90deg CoordSystem=RelativeCS3
  Infinite Sphere1: Infinite Sphere Theta=0deg..180deg step 2deg Phi=0deg..360deg step 2deg CoordSystem=RelativeCS3
  coord: Infinite Sphere Theta=0deg..180deg step 2deg Phi=0deg..360deg step 2deg CoordSystem=RelativeCS3
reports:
  Gain Plot 1: dB(GainTotal) vs Phi, Theta on Setup1 : LastAdaptive, 3D [Freq=28GHz]
  Phased Array 3D Radiation Pattern: dB(GainTotal) vs Phi, Theta on Setup1 : LastAdaptive, coord [Freq=28GHz]
  Gain Plot 3: dB(GainTotal) vs Theta on Setup1 : LastAdaptive, ff_2d [Phi=all Freq=28GHz]; markers m1 at 0deg
  Phased Array - Directivity Plot (dBi): dB(DirTotal) vs Theta on Setup1 : LastAdaptive, ff_2d [Phi=all Freq=28GHz]; markers m1 at 0deg, m2 at 10deg
  Phased Array - Directivity Plot (dBi) - Theta Vertical: dB(DirTotal) vs Theta on Setup1 : LastAdaptive, ff_2d [Phi=all Freq=28GHz]; markers m1 at 0deg, m2 at 10deg
  Phased Array - Directivity Plot (dBi) - Phi Horizontal: dB(DirTotal) vs Theta on Setup1 : LastAdaptive, ff_2d [Phi=all Freq=28GHz]; markers m1 at 0deg, m2 at 0deg, m3 at 10deg

design 1_2Col_patchArlonArray (HFSS, DrivenModal, model units mm)
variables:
  subX = (15*2.2) mm
  subY = 35mm
  subZ = 0.3mm
  patchW = 3.349mm
  patchL = 2.533mm
  arraySpaceL = 2.65mm
  qwtWidth = 0.3mm
  fiftyOhmW = 0.85mm
  feedLength = 2.8205mm
  feedWidth = 0.3mm
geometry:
  substrate [Arlon AD410 (tm)] = box(corner=(-subX/2+2.5*patchW, -subY/2+3*patchL, -subZ), size=(subX, subY, subZ))
  patch1 = rectangle(corner=(-patchW/2, 0mm, 0mm), x_size=patchW, y_size=patchL)
  feedline1 = rectangle(corner=(-feedWidth/2, -feedLength, 0mm), x_size=feedWidth, y_size=feedLength)
  Rectangle1 = rectangle(corner=(-feedWidth/2, -feedLength, -subZ), z_size=subZ, x_size=feedWidth)
  RadiatingSurface [vacuum] = region(absolute_offset=3.5714286mm on all sides)
  coordinate_system RelativeCS1 = origin=(-0.15mm, 9.675mm, 0mm) x=(1mm, 0mm, 0mm) y=(0mm, 1mm, 0mm)
  coordinate_system RelativeCS2 = origin=(0.15mm, -8.5072756mm, 0mm) x=(1mm, 0mm, 0mm) y=(0mm, 1mm, 0mm) in RelativeCS1
  feedline2 = rectangle(corner=(-feedWidth/2, -feedLength+1*(feedLength+patchL), 0mm), x_size=feedWidth, y_size=feedLength)
  patch2 = rectangle(corner=(-patchW/2, 1*(patchL+feedLength), 0mm), x_size=patchW, y_size=patchL)
  feedline3 = rectangle(corner=(-feedWidth/2, -feedLength+2*(feedLength+patchL), 0mm), x_size=feedWidth, y_size=feedLength)
  patch3 = rectangle(corner=(-patchW/2, 2*(patchL+feedLength), 0mm), x_size=patchW, y_size=patchL)
  feedline4 = rectangle(corner=(-feedWidth/2, -feedLength+3*(feedLength+patchL), 0mm), x_size=feedWidth, y_size=feedLength)
  patch4 = rectangle(corner=(-patchW/2, 3*(patchL+feedLength), 0mm), x_size=patchW, y_size=patchL)
  feedline1.unite(patch1, feedline2, patch2, feedline3, patch3, feedline4, patch4)
  feedline1_1, feedline1_2, feedline1_3 = feedline1.duplicate_along_line(step=(6.375mm, 0mm, 0mm), total=4) in RelativeCS2
  Rectangle1_1, Rectangle1_2, Rectangle1_3 = Rectangle1.duplicate_along_line(step=(6.375mm, 0mm, 0mm), total=4) in RelativeCS2
  coordinate_system RelativeCS3 = origin=(9.5mm, 8mm, 0mm) x=(1mm, 0mm, 0mm) y=(0mm, 1mm, 0mm) in RelativeCS2
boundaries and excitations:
  Open1: Radiation Objects=RadiatingSurface
  gold: Finite Conductivity Objects=[feedline1_1, feedline1_2, feedline1_3, feedline1] Conductivity=41100000 Permeability=1 IsInternal
  ground: Perfect E Faces=substrate.face(-z)
  port1: Lumped Port Objects=Rectangle1 Modes{Mode1{IntLine{middle of Rectangle1.edge(z opposite corner) -> middle of Rectangle1.edge(z at corner)} CharImp=Zpi RenormImp=50ohm}} Impedance=50ohm
  p2: Lumped Port Objects=Rectangle1_1 Modes{Mode1{IntLine{middle of Rectangle1_1.edge(2 of 4) -> middle of Rectangle1_1.edge(4 of 4)} CharImp=Zpi RenormImp=50ohm}} Impedance=50ohm
  p3: Lumped Port Objects=Rectangle1_2 Modes{Mode1{IntLine{middle of Rectangle1_2.edge(2 of 4) -> middle of Rectangle1_2.edge(4 of 4)} CharImp=Zpi RenormImp=50ohm}} Impedance=50ohm
  p4: Lumped Port Objects=Rectangle1_3 Modes{Mode1{IntLine{middle of Rectangle1_3.edge(2 of 4) -> middle of Rectangle1_3.edge(4 of 4)} CharImp=Zpi RenormImp=50ohm}} Impedance=50ohm
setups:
  Setup1: HfssDriven Frequency=28GHz MaxDeltaS=0.02 MaximumPasses=6 MinimumPasses=1 MinimumConvergedPasses=1 PercentRefinement=30 BasisOrder=0 PortAccuracy=2
    sweep Sweep: 26GHz to 30GHz, 401 points; Type=Interpolating InterpTolerance=0.2 InterpMaxSolns=250 InterpUsePortImped=false PassivityErrorTolerance=0.0001
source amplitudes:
  port1:1, p2:1: 1W 0deg
  p3:1, p4:1: 0W 0deg
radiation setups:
  3D: Infinite Sphere Theta=0deg..180deg step 2deg Phi=-180deg..180deg step 2deg
  Elevation: Infinite Sphere Theta=-180deg..180deg step 1deg Phi=0deg..90deg step 90deg
  Azimuth: Infinite Sphere Theta=90deg..90deg step 0deg Phi=-180deg..180deg step 1deg
  ff_2d: Infinite Sphere Theta=-180deg..180deg step 2deg Phi=0deg..90deg step 90deg CoordSystem=RelativeCS3
  Infinite Sphere1: Infinite Sphere Theta=0deg..180deg step 2deg Phi=0deg..360deg step 2deg CoordSystem=RelativeCS3
  coord: Infinite Sphere Theta=0deg..180deg step 2deg Phi=0deg..360deg step 2deg CoordSystem=RelativeCS3
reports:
  Gain Plot 1: dB(GainTotal) vs Phi, Theta on Setup1 : LastAdaptive, 3D [Freq=28GHz]
  Phased Array 3D Radiation Pattern: dB(GainTotal) vs Phi, Theta on Setup1 : LastAdaptive, coord [Freq=28GHz]
  Gain Plot 3: dB(GainTotal) vs Theta on Setup1 : LastAdaptive, ff_2d [Phi=all Freq=28GHz]; markers m1 at 0deg
  Phased Array - Directivity Plot (dBi): dB(DirTotal) vs Theta on Setup1 : LastAdaptive, ff_2d [Phi=all Freq=28GHz]; markers m1 at 0deg, m2 at 10deg
  Phased Array - Directivity Plot (dBi) - Theta Vertical: dB(DirTotal) vs Theta on Setup1 : LastAdaptive, ff_2d [Phi=all Freq=28GHz]; markers m1 at 0deg, m2 at 10deg
  Phased Array - Directivity Plot (dBi) - Phi Horizontal: dB(DirTotal) vs Theta on Setup1 : LastAdaptive, ff_2d [Phi=all Freq=28GHz]; markers m1 at 0deg, m2 at 0deg, m3 at 10deg

design 1_3Col_patchArlonArray (HFSS, DrivenModal, model units mm)
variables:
  subX = (15*2.2) mm
  subY = 35mm
  subZ = 0.3mm
  patchW = 3.349mm
  patchL = 2.533mm
  arraySpaceL = 2.65mm
  qwtWidth = 0.3mm
  fiftyOhmW = 0.85mm
  feedLength = 2.8205mm
  feedWidth = 0.3mm
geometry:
  substrate [Arlon AD410 (tm)] = box(corner=(-subX/2+2.5*patchW, -subY/2+3*patchL, -subZ), size=(subX, subY, subZ))
  patch1 = rectangle(corner=(-patchW/2, 0mm, 0mm), x_size=patchW, y_size=patchL)
  feedline1 = rectangle(corner=(-feedWidth/2, -feedLength, 0mm), x_size=feedWidth, y_size=feedLength)
  Rectangle1 = rectangle(corner=(-feedWidth/2, -feedLength, -subZ), z_size=subZ, x_size=feedWidth)
  RadiatingSurface [vacuum] = region(absolute_offset=3.5714286mm on all sides)
  coordinate_system RelativeCS1 = origin=(-0.15mm, 9.675mm, 0mm) x=(1mm, 0mm, 0mm) y=(0mm, 1mm, 0mm)
  coordinate_system RelativeCS2 = origin=(0.15mm, -8.5072756mm, 0mm) x=(1mm, 0mm, 0mm) y=(0mm, 1mm, 0mm) in RelativeCS1
  feedline2 = rectangle(corner=(-feedWidth/2, -feedLength+1*(feedLength+patchL), 0mm), x_size=feedWidth, y_size=feedLength)
  patch2 = rectangle(corner=(-patchW/2, 1*(patchL+feedLength), 0mm), x_size=patchW, y_size=patchL)
  feedline3 = rectangle(corner=(-feedWidth/2, -feedLength+2*(feedLength+patchL), 0mm), x_size=feedWidth, y_size=feedLength)
  patch3 = rectangle(corner=(-patchW/2, 2*(patchL+feedLength), 0mm), x_size=patchW, y_size=patchL)
  feedline4 = rectangle(corner=(-feedWidth/2, -feedLength+3*(feedLength+patchL), 0mm), x_size=feedWidth, y_size=feedLength)
  patch4 = rectangle(corner=(-patchW/2, 3*(patchL+feedLength), 0mm), x_size=patchW, y_size=patchL)
  feedline1.unite(patch1, feedline2, patch2, feedline3, patch3, feedline4, patch4)
  feedline1_1, feedline1_2, feedline1_3 = feedline1.duplicate_along_line(step=(6.375mm, 0mm, 0mm), total=4) in RelativeCS2
  Rectangle1_1, Rectangle1_2, Rectangle1_3 = Rectangle1.duplicate_along_line(step=(6.375mm, 0mm, 0mm), total=4) in RelativeCS2
  coordinate_system RelativeCS3 = origin=(9.5mm, 8mm, 0mm) x=(1mm, 0mm, 0mm) y=(0mm, 1mm, 0mm) in RelativeCS2
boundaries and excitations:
  Open1: Radiation Objects=RadiatingSurface
  gold: Finite Conductivity Objects=[feedline1_1, feedline1_2, feedline1_3, feedline1] Conductivity=41100000 Permeability=1 IsInternal
  ground: Perfect E Faces=substrate.face(-z)
  port1: Lumped Port Objects=Rectangle1 Modes{Mode1{IntLine{middle of Rectangle1.edge(z opposite corner) -> middle of Rectangle1.edge(z at corner)} CharImp=Zpi RenormImp=50ohm}} Impedance=50ohm
  p2: Lumped Port Objects=Rectangle1_1 Modes{Mode1{IntLine{middle of Rectangle1_1.edge(2 of 4) -> middle of Rectangle1_1.edge(4 of 4)} CharImp=Zpi RenormImp=50ohm}} Impedance=50ohm
  p3: Lumped Port Objects=Rectangle1_2 Modes{Mode1{IntLine{middle of Rectangle1_2.edge(2 of 4) -> middle of Rectangle1_2.edge(4 of 4)} CharImp=Zpi RenormImp=50ohm}} Impedance=50ohm
  p4: Lumped Port Objects=Rectangle1_3 Modes{Mode1{IntLine{middle of Rectangle1_3.edge(2 of 4) -> middle of Rectangle1_3.edge(4 of 4)} CharImp=Zpi RenormImp=50ohm}} Impedance=50ohm
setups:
  Setup1: HfssDriven Frequency=28GHz MaxDeltaS=0.02 MaximumPasses=6 MinimumPasses=1 MinimumConvergedPasses=1 PercentRefinement=30 BasisOrder=0 PortAccuracy=2
    sweep Sweep: 26GHz to 30GHz, 401 points; Type=Interpolating InterpTolerance=0.2 InterpMaxSolns=250 InterpUsePortImped=false PassivityErrorTolerance=0.0001
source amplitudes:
  port1:1, p2:1, p3:1: 1W 0deg
  p4:1: 0W 0deg
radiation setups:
  3D: Infinite Sphere Theta=0deg..180deg step 2deg Phi=-180deg..180deg step 2deg
  Elevation: Infinite Sphere Theta=-180deg..180deg step 1deg Phi=0deg..90deg step 90deg
  Azimuth: Infinite Sphere Theta=90deg..90deg step 0deg Phi=-180deg..180deg step 1deg
  ff_2d: Infinite Sphere Theta=-180deg..180deg step 2deg Phi=0deg..90deg step 90deg CoordSystem=RelativeCS3
  Infinite Sphere1: Infinite Sphere Theta=0deg..180deg step 2deg Phi=0deg..360deg step 2deg CoordSystem=RelativeCS3
  coord: Infinite Sphere Theta=0deg..180deg step 2deg Phi=0deg..360deg step 2deg CoordSystem=RelativeCS3
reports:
  Gain Plot 1: dB(GainTotal) vs Phi, Theta on Setup1 : LastAdaptive, 3D [Freq=28GHz]
  Phased Array 3D Radiation Pattern: dB(GainTotal) vs Phi, Theta on Setup1 : LastAdaptive, coord [Freq=28GHz]
  Gain Plot 3: dB(GainTotal) vs Theta on Setup1 : LastAdaptive, ff_2d [Phi=all Freq=28GHz]; markers m1 at 0deg
  Phased Array - Directivity Plot (dBi): dB(DirTotal) vs Theta on Setup1 : LastAdaptive, ff_2d [Phi=all Freq=28GHz]; markers m1 at 0deg, m2 at 10deg
  Phased Array - Directivity Plot (dBi) - Theta Vertical: dB(DirTotal) vs Theta on Setup1 : LastAdaptive, ff_2d [Phi=all Freq=28GHz]; markers m1 at 0deg, m2 at 10deg
  Phased Array - Directivity Plot (dBi) - Phi Horizontal: dB(DirTotal) vs Theta on Setup1 : LastAdaptive, ff_2d [Phi=all Freq=28GHz]; markers m1 at 0deg, m2 at 0deg, m3 at 10deg
